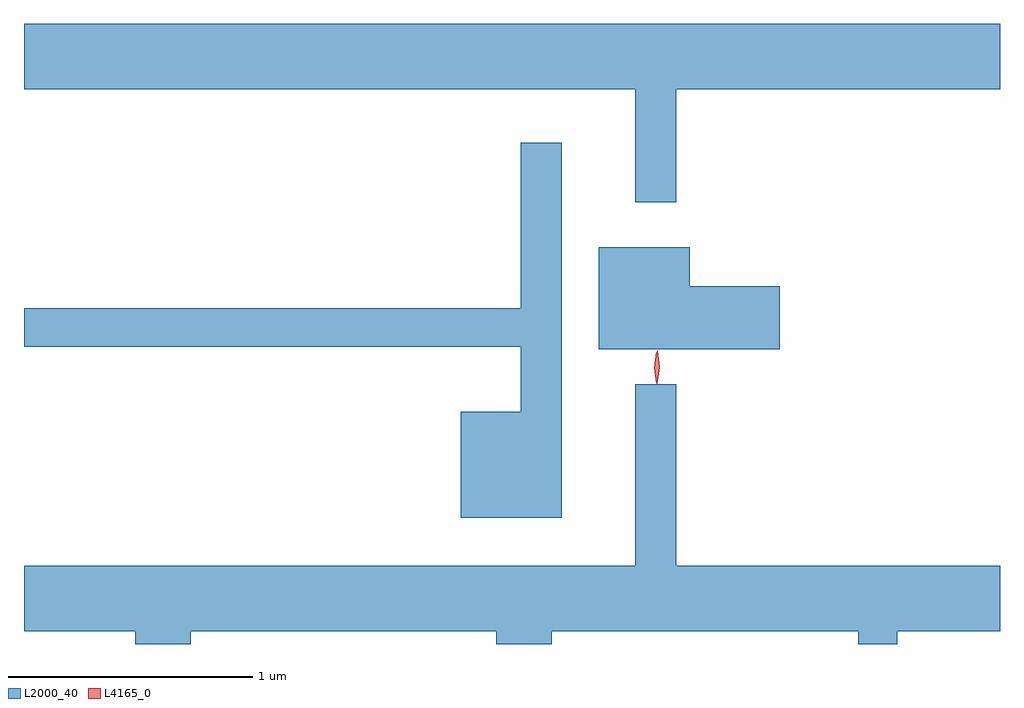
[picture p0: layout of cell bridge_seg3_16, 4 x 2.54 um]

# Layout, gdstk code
import gdstk
lib = gdstk.Library(unit=1e-6, precision=1e-09)
def P(c, l, *ps):  # polygons
    for p in ps: c.add(gdstk.Polygon(p, *l))
L2000_40 = (2000, 40)
L4165_0 = (4165, 0)

bridge_seg3_16 = lib.new_cell('bridge_seg3_16')
P(bridge_seg3_16, L2000_40, [(1528.569,1214.816),(1529.896,1214.816),(1529.896,1215.084),(1525.896,1215.084),(1525.896,1214.816),(1528.401,1214.816),(1528.401,1214.353),(1528.569,1214.353)],
  [(1528.099,1214.598),(1527.931,1214.598),(1527.931,1213.919),(1525.896,1213.919),(1525.896,1213.761),(1527.931,1213.761),(1527.931,1213.494),(1527.686,1213.494),(1527.686,1213.061),(1528.099,1213.061)],
  [(1528.994,1214.009),(1528.624,1214.009),(1528.624,1214.169),(1528.251,1214.169),(1528.251,1213.751),(1528.994,1213.751)],
  [(1526.579,1212.596),(1527.831,1212.596),(1527.831,1212.543),(1528.059,1212.543),(1528.059,1212.596),(1529.316,1212.596),(1529.316,1212.543),(1529.474,1212.543),(1529.474,1212.596),(1529.896,1212.596),(1529.896,1212.864),(1528.569,1212.864),(1528.569,1213.608),(1528.401,1213.608),(1528.401,1212.864),(1525.896,1212.864),(1525.896,1212.596),(1526.351,1212.596),(1526.351,1212.543),(1526.579,1212.543)])
P(bridge_seg3_16, L4165_0, [(1528.49,1213.61),(1528.482,1213.678),(1528.492,1213.745),(1528.492,1213.746),(1528.493,1213.745),(1528.502,1213.678),(1528.491,1213.61),(1528.491,1213.61)],
  [(1528.487,1213.613),(1528.478,1213.676),(1528.487,1213.74),(1528.488,1213.74),(1528.488,1213.74),(1528.498,1213.676),(1528.488,1213.613),(1528.488,1213.613)])

lib.write_gds('bridge_seg3_16.gds')
